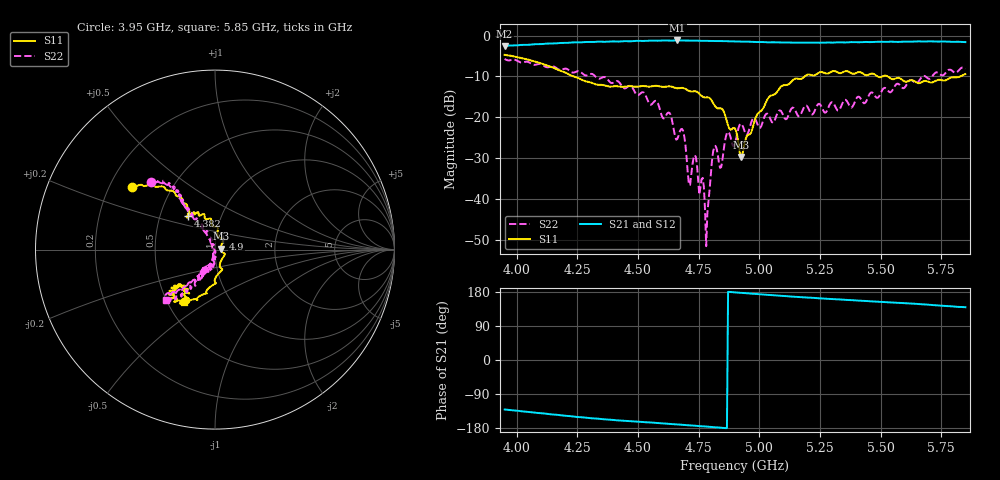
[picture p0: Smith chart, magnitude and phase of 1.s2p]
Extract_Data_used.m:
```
%Extract epsilon and mu of a thin polymer box filled with Fe3O4 powder
%The cap is at port one

clear all;

[fre,s11_m,s11_p,s21_m,s21_p,s12_m,s12_p,s22_m,s22_p]=textread('1.s2p','%f%f%f%f%f%f%f%f%f','headerlines',8);

% for i=1:800
% if s11_p(i)<0
% s11_p(i)=s11_p(i)+360;
% end
% if s12_p(i)<0
% s12_p(i)=s12_p(i)+360;
% end
% if s21_p(i)<0
% s21_p(i)=s21_p(i)+360;
% end
% if s22_p(i)<0
% s22_p(i)=s22_p(i)+360;
% end
% end


TEaLs11p=10.^(s11_m/20);
TEaLs21p=10.^(s21_m/20);


TEas11a=s11_p;
TEas21a=s21_p;


TEaRs11a=TEas11a*pi/180;
TEaRs21a=TEas21a*pi/180;

% figure;
% plot(fre,TEaRs11a,'r',fre,TEaRs21a,'b');
% legend('Rs11-arg:rad','Rs21-arg:rad');
% grid

TEas11=TEaLs11p.*(cos(TEaRs11a)-1i*sin(TEaRs11a));
TEas21=TEaLs21p.*(cos(TEaRs21a)-1i*sin(TEaRs21a));

%%%%%%%%%%%%%%%%%%%%%%%%%%
Cv=3*10^8;
wa=0.02286;%WR-90
kx=pi/wa;
k0=2*pi*fre/Cv;
ka=sqrt(k0.^2-kx^2);
da=0.004;%thick of the slab under test  ±»²âÁ¿ÑùÆ·ºñ¶È
d1a=0; %length between slab with detector of S11 ¿¿½üport1µÄ¾àÀë
t14=0.00968;%1/4 wavelength waveguide thickness   
dta=t14-da; %length between slab with detector of S21   
%%%%%%%%%%%%%%%%%%%%%%%%%%%%%%%%%%%%
ra=TEas11.*exp(-2i*d1a*ka);

ta=TEas21.*exp(-1i*(d1a+dta)*ka);

z1a=sqrt(((1+ra).^2-ta.^2)./((1-ra).^2-ta.^2));
z2a=-sqrt(((1+ra).^2-ta.^2)./((1-ra).^2-ta.^2));

delta=0.01;

ephi1a=abs(ta./(1-ra.*(z1a-1)./(z1a+1)))<=1;
ephi2a=abs(ta./(1-ra.*(z2a-1)./(z2a+1)))<=1;

zma=(abs(real(z1a))>=delta).*(z1a.*sign(real(z1a)))+(abs(real(z1a))<delta).*(ephi1a.*z1a+ephi2a.*z2a);

exxa=log(ta./(1-ra.*(zma-1)./(zma+1)));
nma=(imag(exxa)-1i.*real(exxa))./(ka*da);

dna=2*pi./(ka*da);

% figure;
% plot(fre,real(zma),'r-',fre,imag(zma),'b-');
% legend('real(zma)','imag(zma)');
% grid
% 
% figure;
% plot(fre,real(nma),'r-',fre,imag(nma),'b-');
% legend('real(nma)','imag(nma)');
% grid

% axis([1.6 2.4 -5 5]);

na1p=dna+nma;
na1n=-dna+nma;
na2p=dna*2+nma;
na2n=-dna*2+nma;
na3p=dna*3+nma;
na3n=-dna*3+nma;
na4p=dna*4+nma;
na4n=-dna*4+nma;
%nma ÊÇÃ»ÓÐ¶îÍâ²¨³¤µÄ³¤¶È£¨ÑùÆ·±È½ÏÐ¡£©£¬¼Ó¼õdnaÊÇÓÐ¶îÍâµÄ²¨³¤£¨ÑùÆ·±È½Ï´ó£©£¬Ò»¸öÒ»¸öÊÔ¿´ÄÄ¸ö¶Ô
nnnna=nma;%choose phase nma, na1p, na1n
% nnnna(1:98)=na1p(1:98);%for castor oil
% nnnna(99:end)=na1p(99:end);%for mineral oil
% nnnna=zeros(size(nma));
% if n==1
%     nnnna(1:71)=nma(1:71);%choose phase
%     nnnna(72:end)=na1p(72:end);%choose phase
% else
%     nnnna(1:75)=nma(1:75);%choose phase
%     nnnna(76:end)=na1p(76:end);%choose phase
% end

% figure;
% plot(fre,nma,'b',fre,na1p,'b',fre,na2p,'b',fre,na1n,'b',fre,na2n,'b',fre,na3p,'b',fre,na3n,'b',fre, nnnna,'k',fre,-dna/2,'r',fre,dna/2,'r');

% axis([1.6 2.4 -50 50]);
% grid;

uuuua=nnnna.*zma;

%----------------------TEb-------------------------------------------------

TEbLs11p=10.^(s11_m/20);
TEbLs21p=10.^(s21_m/20);

% figure;
% plot(fre,TEbLs11p,'r',fre,TEbLs21p,'b');
% legend('Ls11-linear','Ls21-linear');
% grid

TEbs11a=s11_p;
TEbs21a=s21_p;

TEbRs11a=TEbs11a*pi/180;
TEbRs21a=TEbs21a*pi/180;

% figure;
% plot(fre,TEbRs11a,'r',fre,TEbRs21a,'b');
% legend('Rs11-arg:rad','Rs21-arg:rad');
% grid

TEbs11=TEbLs11p.*(cos(TEbRs11a)-1i*sin(TEbRs11a));
TEbs21=TEbLs21p.*(cos(TEbRs21a)-1i*sin(TEbRs21a));

%%%%%%%%%%%%%%%%%%%%%%%%%%
kb=sqrt(k0.^2-kx^2);
db=da;  %thick of the slab
d1b=d1a; %length between slab with detector of S11
dtb=dta; %length between slab with detector of S21
rb=TEbs11.*exp(-2i*d1b*kb);

tb=TEbs21.*exp(-1i*(d1b+dtb)*kb);

z1b=sqrt(((1+rb).^2-tb.^2)./((1-rb).^2-tb.^2));
z2b=-sqrt(((1+rb).^2-tb.^2)./((1-rb).^2-tb.^2));

deltb=0.01;

ephi1b=abs(tb./(1-rb.*(z1b-1)./(z1b+1)))<=1;
ephi2b=abs(tb./(1-rb.*(z2b-1)./(z2b+1)))<=1;

zmb=(abs(real(z1b))>=deltb).*(z1b.*sign(real(z1b)))+(abs(real(z1b))<deltb).*(ephi1b.*z1b+ephi2b.*z2b);

exxb=log(tb./(1-rb.*(zmb-1)./(zmb+1)));
nmb=(imag(exxb)-1i.*real(exxb))./(kb*db);

dnb=2*pi./(kb*db);

% figure;
% plot(fre,real(zmb),'r-',fre,imag(zmb),'b-');
% legend('real(zmb)','imag(zmb)');
% grid

% figure;
% plot(fre,real(nmb),'r-',fre,imag(nmb),'b-');
% legend('real(nmb)','imag(nmb)');
% grid

% axis([1.6 2.4 -5 5]);

nb1p=dnb+nmb;
nb1n=-dnb+nmb;
nb2p=dnb*2+nmb;
nb2n=-dnb*2+nmb;
nb3p=dnb*3+nmb;
nb3n=-dnb*3+nmb;
nb4p=dnb*4+nmb;
nb4n=-dnb*4+nmb;
%nnnnb¿¼ÂÇÁË¸÷ÏòÒìÐÔ£¬ÕâÀïÃ»ÓÃ

nnnnb=nmb;%choose phase
% nnnnb(58:end)=nb1p(58:end);%for castor oil
% nnnnb(99:end)=nb1p(99:end);%for mineral oil
% nnnnb=zeros(size(nmb));
% if n==1
%     nnnnb(1:71)=nmb(1:71);%choose phase
%     nnnnb(72:end)=nb1p(72:end);%choose phase
% else
%     nnnnb(1:75)=nmb(1:75);%choose phase
%     nnnnb(76:end)=nb1p(76:end);%choose phase
% end

uuuub=nnnnb.*zmb;

eeeea=(nnnna.^2.*ka.^2+uuuua./uuuub.*kx^2)./k0.^2./uuuua;
eeeeb=(nnnnb.^2.*kb.^2+uuuub./uuuua.*kx^2)./k0.^2./uuuub;

if isempty(find(abs(diff(real(uuuua)))>=0.1, 1))==0%discontinuous
    D=find(abs(diff(real(uuuua)))>=0.1);
    uuuua(1:D)=(nnnna(1:D)-dnb(1:D)).*zma(1:D);
    uuuub(1:D)=(nnnnb(1:D)-dnb(1:D)).*zmb(1:D);
    eeeea(1:D)=((nnnna(1:D)-dnb(1:D)).^2.*ka(1:D).^2+uuuua(1:D)./uuuub(1:D).*kx^2)./k0(1:D).^2./uuuua(1:D);
    eeeeb(1:D)=((nnnnb(1:D)-dnb(1:D)).^2.*kb(1:D).^2+uuuub(1:D)./uuuua(1:D).*kx^2)./k0(1:D).^2./uuuub(1:D);
end

figure
plot(fre/1e9,s11_m,'r',fre/1e9,s21_m,'b',fre/1e9,s12_m,'k',fre/1e9,s22_m,'g','Linewidth',1.7);grid
hold on
legend('mag(S_1_1)','mag(S_2_1)','mag(S_1_2)','mag(S_2_2)');
title('Measured S-Parameter Magnitudes','Fontsize',14,'Fontname','Helvetica');
xlabel('Frequency (GHz)','Fontsize',14,'Fontname','Helvetica');
ylabel('dB','Fontsize',14,'Fontname','Helvetica');
set(gca,'Fontsize',14,'Fontname','Helvetica');
%xlim([8 12]);
saveas(gcf,'CastorOil_Type4_Sp_Mag_New.fig');

figure
plot(fre/1e9,s11_p,'r',fre/1e9,s21_p,'b',fre/1e9,s12_p,'k',fre/1e9,s22_p,'g','Linewidth',1.7);grid
hold on
legend('ang(S_1_1)','ang(S_2_1)','ang(S_1_2)','ang(S_2_2)');
title('Measured S-Parameter Phases','Fontsize',14,'Fontname','Helvetica');
xlabel('Frequency (GHz)','Fontsize',14,'Fontname','Helvetica');
ylabel('degree','Fontsize',14,'Fontname','Helvetica');
set(gca,'Fontsize',14,'Fontname','Helvetica');
%xlim([8 12]);
saveas(gcf,'CastorOil_Type4_Sp_Ph_New.fig')

figure
plot(fre/1e9,real(eeeea),'r',fre/1e9,imag(eeeea),'b','Linewidth',1.7);grid
hold on
legend('Re\{\epsilon\}','Im\{\epsilon\}');
title('Extracted Permittivity','Fontsize',14,'Fontname','Helvetica');
xlabel('Frequency (GHz)','Fontsize',14,'Fontname','Helvetica');
set(gca,'Fontsize',14,'Fontname','Helvetica');
%xlim([8 12]);
saveas(gcf,'CastorOil_Type4_Sp_E_New.fig')

figure
plot(fre/1e9,real(uuuua),'r',fre/1e9,imag(uuuua),'b','Linewidth',1.7);grid
hold on
legend('Re\{\mu\}','Im\{\mu\}');
title('Extracted Permeability','Fontsize',14,'Fontname','Helvetica');
xlabel('Frequency (GHz)','Fontsize',14,'Fontname','Helvetica');
set(gca,'Fontsize',14,'Fontname','Helvetica');
%xlim([8 12]);
saveas(gcf,'CastorOil_Type4_Sp_U_New.fig')

figure
plot(fre/1e9,imag(eeeea)./real(eeeea),'Linewidth',1.7);grid
title('Calculated Dielectric Loss Tangent','Fontsize',14,'Fontname','Helvetica');
xlabel('Frequency (GHz)','Fontsize',14,'Fontname','Helvetica');
set(gca,'Fontsize',14,'Fontname','Helvetica');
%xlim([8 12]);
saveas(gcf,'CastorOil_Type4_Sp_Loss_New.fig')


%Fit the extract ep and mu into a line using Least Squares Polynomial Fit
%Order n=1, meaning a linear fit
c=polyfit((1:numel(eeeea))'/numel(eeeea),real(eeeea),1);
fitted_epr=c(1)*(1:numel(eeeea))/numel(eeeea)+c(2);%fitted real(epsilon)
c=polyfit((1:numel(eeeea))'/numel(eeeea),imag(eeeea),1);
fitted_epi=c(1)*(1:numel(eeeea))/numel(eeeea)+c(2);%fitted imag(epsilon)
c=polyfit((1:numel(uuuua))'/numel(uuuua),real(uuuua),1);
fitted_mur=c(1)*(1:numel(uuuua))/numel(uuuua)+c(2);%fitted real(mu)
c=polyfit((1:numel(uuuua))'/numel(uuuua),imag(uuuua),1);
fitted_mui=c(1)*(1:numel(uuuua))/numel(uuuua)+c(2);%fitted imag(mu)

% Reeeea=real(eeeea);
% save Extracted_Polymer_Real_Epsilon.txt Reeeea /ascii
```
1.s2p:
!Keysight Technologies,N5227A,US56070638,A.10.60.06
!Date: Monday, July 16, 2018 20:45:56
!Correction: S11(Full 2 Port(1,2))
!S21(Full 2 Port(1,2))
!S12(Full 2 Port(1,2))
!S22(Full 2 Port(1,2))
!S2P File: Measurements: S11, S21, S12, S22:
# Hz S  dB  R 50
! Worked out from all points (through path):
!   401 points, 3.95 GHz to 5.85 GHz, reference 50 ohm
!   highest |S21| = -1.17 dB at 4.662 GHz (marker M1); lowest = -2.5 dB at 3.95 GHz (marker M2)
!   lowest |S11| = -29.8 dB at 4.924 GHz (marker M3), VSWR 1.07, Z = 53.3 + j0.531 ohm
!   |S11| at or under -10 dB: 4.235 GHz to 5.187 GHz (952.3 MHz wide, 20.2 % of centre); 5.487882 GHz to 5.507656 GHz (19.77 MHz wide, 0.36 % of centre); 5.53 GHz to 5.829 GHz (299.2 MHz wide, 5.27 % of centre)
!   |S22| runs from -51.6 to -5.7 dB; largest |S21 - S12| = 0.0016
!   S11 on the Smith chart (normalised r, x): 3.95 GHz: 0.29, +0.31; 4.382 GHz: 0.70, +0.28; 4.9 GHz: 1.09, +0.13; 5.85 GHz: 0.61, -0.40
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3.95e9  -4.69 142.9  -2.51 -130.6  -2.51 -130.6  -5.70 133.2
4.38225e9  -12.48 128.5  -1.41 -157.3  -1.42 -157.3  -11.24 124.9
4.6625e9  -12.89 120.2  -1.17 -170.0  -1.17 -169.9  -25.30 108.4
4.71e9  -13.52 115.3  -1.20 -172.2  -1.20 -172.2  -36.53 114.2
4.73375e9  -13.61 108.8  -1.21 -173.5  -1.22 -173.5  -29.27 112.8
4.786e9  -15.10 99.9  -1.26 -176.0  -1.26 -176.0  -43.50 165.0
4.8145e9  -16.97 97.8  -1.31 -177.3  -1.31 -177.3  -27.23 -91.2
4.9e9  -22.73 51.8  -1.40 178.4  -1.40 178.4  -26.48 -105.6
4.92375e9  -29.75 8.8  -1.46 177.3  -1.46 177.3  -21.56 -93.9
5.147e9  -10.56 -110.4  -1.72 167.0  -1.73 167.0  -18.12 -106.6
5.85e9  -9.42 -121.0  -1.57 139.2  -1.58 139.2  -8.13 -134.0
